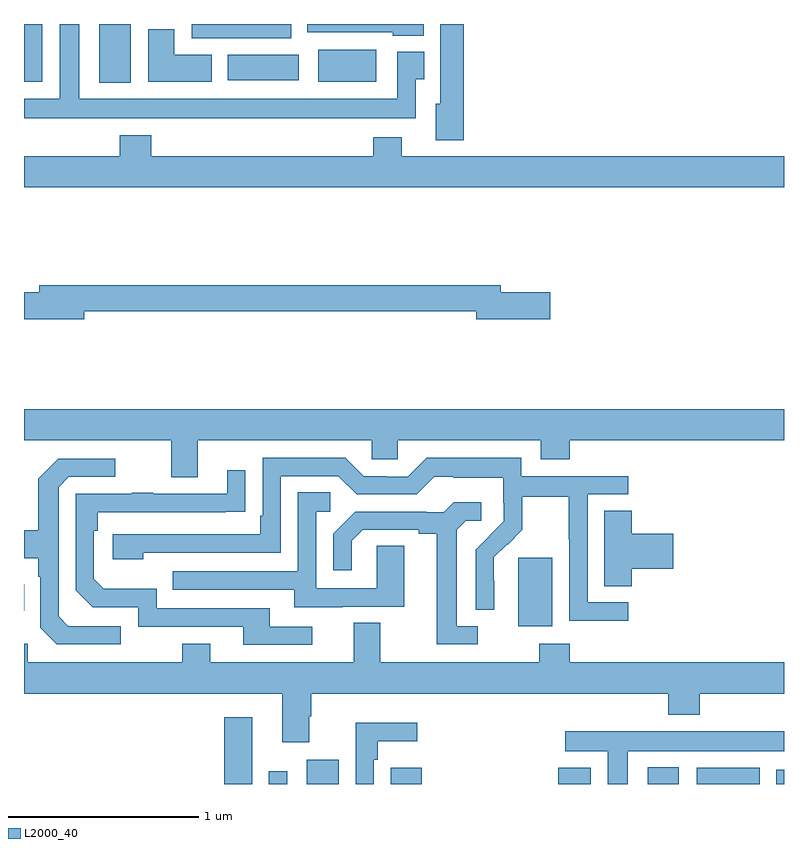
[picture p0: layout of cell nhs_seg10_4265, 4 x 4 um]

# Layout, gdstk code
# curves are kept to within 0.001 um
import gdstk
lib = gdstk.Library(unit=1e-6, precision=1e-09)
def R(c, l, rs):  # rectangles x0, y0, x1, y1
    for r in rs: c.add(gdstk.rectangle(r[:2], r[2:], *l))
def P(c, l, *ps):  # polygons
    for p in ps: c.add(gdstk.Polygon(p, *l))
L2000_40 = (2000, 40)

nhs_seg10_4265 = lib.new_cell('nhs_seg10_4265')
R(nhs_seg10_4265, L2000_40, [(350.054,1306.5,350.2,1306.852), (350.289,1306.5,350.385,1306.567), (350.489,1306.5,350.656,1306.627), (350.93,1306.5,351.094,1306.585), (351.812,1306.5,351.982,1306.585), (352.283,1306.5,352.447,1306.588), (352.541,1306.5,352.873,1306.585), (352.958,1306.5,353,1306.576), (351.602,1307.33,351.781,1307.691), (349,1307.411,349.001,1307.551), (349.397,1310.192,349.561,1310.5), (349,1310.195,349.096,1310.5), (350.549,1310.195,350.854,1310.365), (350.072,1310.204,350.446,1310.338), (349.883,1310.426,350.407,1310.5)])
P(nhs_seg10_4265, L2000_40, [(351.061,1310.209),(351.106,1310.209),(351.106,1310.353),(350.964,1310.353),(350.964,1310.107),(349.291,1310.107),(349.291,1310.5),(349.187,1310.5),(349.187,1310.107),(349,1310.107),(349,1310.003),(351.061,1310.003)],
  [(351.314,1310.5),(351.191,1310.5),(351.191,1310.079),(351.167,1310.079),(351.167,1309.889),(351.314,1309.889)],
  [(351.103,1310.5),(350.492,1310.5),(350.492,1310.456),(350.94,1310.456),(350.94,1310.438),(351.103,1310.438)],
  [(349.987,1310.338),(349.792,1310.338),(349.792,1310.473),(349.655,1310.473),(349.655,1310.195),(349.987,1310.195)],
  [(353,1309.804),(350.989,1309.804),(350.989,1309.903),(350.837,1309.903),(350.837,1309.804),(349.67,1309.804),(349.67,1309.915),(349.505,1309.915),(349.505,1309.804),(349,1309.804),(349,1309.64),(353,1309.64)],
  [(349.318,1308.988),(351.38,1308.988),(351.38,1308.946),(351.769,1308.946),(351.769,1309.088),(351.508,1309.088),(351.508,1309.124),(349.079,1309.124),(349.079,1309.088),(349,1309.088),(349,1308.946),(349.318,1308.946)],
  [(349.915,1308.308),(350.829,1308.308),(350.829,1308.21),(350.967,1308.21),(350.967,1308.308),(351.719,1308.308),(351.719,1308.209),(351.872,1308.209),(351.872,1308.308),(353,1308.308),(353,1308.472),(349,1308.472),(349,1308.308),(349.775,1308.308),(349.775,1308.114),(349.915,1308.114)],
  [(352.18,1307.457),(351.966,1307.457),(351.966,1308.024),(352.18,1308.024),(352.18,1308.12),(351.618,1308.12),(351.618,1308.217),(351.121,1308.217),(351.021,1308.117),(350.906,1308.117),(350.906,1308.12),(350.787,1308.12),(350.691,1308.216),(350.256,1308.216),(350.256,1307.911),(350.243,1307.911),(350.243,1307.814),(349.467,1307.814),(349.467,1307.684),(349.628,1307.684),(349.628,1307.718),(350.352,1307.718),(350.352,1308.12),(350.655,1308.12),(350.751,1308.024),(351.066,1308.024),(351.159,1308.117),(351.259,1308.117),(351.259,1308.113),(351.522,1308.113),(351.522,1307.979),(351.524,1307.979),(351.524,1307.882),(351.378,1307.734),(351.378,1307.416),(351.474,1307.416),(351.473,1307.693),(351.543,1307.763),(351.546,1307.76),(351.623,1307.837),(351.623,1308.012),(351.868,1308.012),(351.868,1307.788),(351.87,1307.788),(351.87,1307.359),(352.18,1307.359)],
  [(349.51,1307.331),(349.233,1307.331),(349.182,1307.382),(349.182,1308.063),(349.236,1308.117),(349.48,1308.117),(349.48,1308.213),(349.179,1308.213),(349.074,1308.107),(349.074,1307.835),(349,1307.835),(349,1307.687),(349.074,1307.687),(349.074,1307.591),(349.086,1307.591),(349.086,1307.322),(349.173,1307.235),(349.51,1307.235)],
  [(350.518,1307.328),(350.293,1307.328),(350.293,1307.424),(349.698,1307.424),(349.698,1307.527),(349.421,1307.527),(349.368,1307.58),(349.368,1307.834),(349.388,1307.834),(349.388,1307.931),(350.165,1307.932),(350.165,1308.151),(350.069,1308.151),(350.069,1308.027),(349.679,1308.027),(349.679,1308.032),(349.567,1308.032),(349.567,1308.027),(349.272,1308.027),(349.272,1307.52),(349.362,1307.43),(349.602,1307.43),(349.602,1307.328),(350.153,1307.328),(350.153,1307.232),(350.518,1307.232)],
  [(350.677,1307.433),(351.001,1307.433),(351.001,1307.753),(350.856,1307.753),(350.856,1307.529),(350.538,1307.529),(350.538,1307.934),(350.611,1307.934),(350.611,1308.035),(350.442,1308.035),(350.442,1307.619),(349.783,1307.619),(349.783,1307.523),(350.423,1307.523),(350.423,1307.429),(350.677,1307.429)],
  [(351.388,1307.331),(351.277,1307.331),(351.277,1307.839),(351.324,1307.886),(351.406,1307.886),(351.406,1307.983),(351.262,1307.983),(351.21,1307.931),(351.116,1307.931),(351.116,1307.934),(350.744,1307.934),(350.628,1307.818),(350.628,1307.625),(350.725,1307.625),(350.725,1307.781),(350.782,1307.838),(351.077,1307.838),(351.077,1307.816),(351.173,1307.816),(351.173,1307.235),(351.388,1307.235)],
  [(352.199,1307.633),(352.417,1307.633),(352.417,1307.816),(352.199,1307.816),(352.199,1307.939),(352.055,1307.939),(352.055,1307.542),(352.199,1307.542)],
  [(349,1307.239),(349,1306.976),(350.36,1306.976),(350.36,1306.719),(350.5,1306.719),(350.5,1306.856),(350.513,1306.856),(350.513,1306.976),(352.391,1306.976),(352.391,1306.865),(352.556,1306.865),(352.556,1306.976),(353,1306.976),(353,1307.14),(351.872,1307.14),(351.872,1307.239),(351.712,1307.239),(351.712,1307.14),(350.875,1307.14),(350.875,1307.348),(350.735,1307.348),(350.735,1307.14),(349.981,1307.14),(349.981,1307.239),(349.834,1307.239),(349.834,1307.14),(349.02,1307.14),(349.02,1307.239)],
  [(350.841,1306.628),(350.861,1306.628),(350.861,1306.724),(351.07,1306.724),(351.07,1306.822),(350.745,1306.822),(350.745,1306.5),(350.841,1306.5)],
  [(352.177,1306.673),(353,1306.673),(353,1306.777),(351.849,1306.777),(351.849,1306.673),(352.073,1306.673),(352.073,1306.5),(352.177,1306.5)])

lib.write_gds('nhs_seg10_4265.gds')
